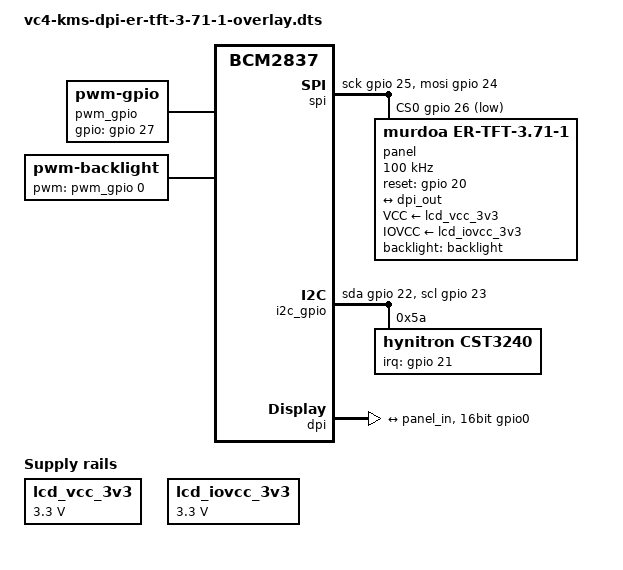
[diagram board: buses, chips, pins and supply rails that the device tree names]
/*
 * vc4-kms-dpi-er_tft_4_58_1.dts
 */

/dts-v1/;
/plugin/;

#include <dt-bindings/gpio/gpio.h>
#include <dt-bindings/pinctrl/bcm2835.h>

/ {
	compatible = "brcm,bcm2837";

	fragment@0 {
		target-path = "/";
		__overlay__ {
			pwm_gpio: pwm_gpio@27 {
				#pwm-cells = <3>;
				compatible = "pwm-gpio";
				pinctrl-names = "default";
				pinctrl-0 = <&pwm_gpio_pins>;
				gpios = <&gpio 27 0>;
				status = "okay";
			};
		};
	};

	fragment@1 {
		target-path = "/";
		__overlay__ {

			lcd_vcc_3v3: regulator-vcc-3v3 {
				compatible = "regulator-fixed";
				regulator-name = "vcc_3v3";
				regulator-min-microvolt = <3300000>;
				regulator-max-microvolt = <3300000>;
				regulator-always-on;
				regulator-boot-on;
			};

			lcd_iovcc_3v3: regulator-iovcc-3v3 {
				compatible = "regulator-fixed";
				regulator-name = "iovcc_3v3";
				regulator-min-microvolt = <3300000>;
				regulator-max-microvolt = <3300000>;
				regulator-always-on;
				regulator-boot-on;
			};

			backlight: backlight {
				compatible = "pwm-backlight";
				pwms = <&pwm_gpio 0 5000000 0>;

				brightness-levels = <0 4 8 16 32 64 128 255>;
				default-brightness-level = <3>;

				// post-pwm-on-delay-ms = <10>;
				// pwm-off-delay-ms = <10>;
			};

			spi {
				compatible = "spi-gpio";
				#address-cells = <1>;
				#size-cells = <0>;
				pinctrl-0 = <&spi_pins>;
				pinctrl-names = "default";

				sck-gpios = <&gpio 25 GPIO_ACTIVE_HIGH>;
				mosi-gpios = <&gpio 24 GPIO_ACTIVE_HIGH>;
				cs-gpios = <&gpio 26 GPIO_ACTIVE_LOW>;
				num-chipselects = <1>;
				sck-idle-input;

				panel: display@0 {
					reg = <0>;
					/* 100 kHz */
					pinctrl-0 = <&lcd_pins>;
					pinctrl-names = "default";
					spi-max-frequency = <100000>;
					backlight = <&backlight>;
					rotation = <90>;
					reset-gpios = <&gpio 20 GPIO_ACTIVE_HIGH>;

					VCC-supply = <&lcd_vcc_3v3>;
					IOVCC-supply = <&lcd_iovcc_3v3>;

					compatible = "murdoa,er-tft-3.71-1";
					
					// RGB 565 16-bit
					bus-format = <0x1017>;

					port {
						panel_in: endpoint {
							remote-endpoint = <&dpi_out>;
						};
					};
				};
			};
		};
	};

	fragment@2 {
		target = <&dpi>;
		__overlay__  {
			status = "okay";

			pinctrl-names = "default";
			pinctrl-0 = <&dpi_16bit_gpio0>;

			port {
				dpi_out: endpoint {
					remote-endpoint = <&panel_in>;
				};
			};
		};
	};

	fragment@3 {
		target = <&gpio>;
		__overlay__ {
			spi_pins: er_tft_4_58_1_spi_pins {
				brcm,pins = <25 26 24>;
				brcm,pull = <BCM2835_PUD_UP BCM2835_PUD_UP BCM2835_PUD_OFF>;
				brcm,function = <1 1 1>;
			};
			lcd_pins: er_tft_4_58_1_lcd_pins {
				brcm,pins = <20>;
				brcm,pull = <BCM2835_PUD_UP>;
				brcm,function = <1>;
			};
		};
	};

	fragment@4 {
		target-path = "/";
		__overlay__ {
			i2c_gpio: i2c@0 {
				compatible = "i2c-gpio";
				gpios = <&gpio 22 0 /* sda */
				&gpio 23 0>; /* scl */
				i2c-gpio,delay-us = <4>;        /* ~100 kHz */
				#address-cells = <1>;
				#size-cells = <0>;
			};
		};
	};

	fragment@5 {
		target = <&gpio>;
		__overlay__ {
			pwm_gpio_pins: pwm_gpio_pins@27 {
				brcm,pins = <27>; /* gpio 4 */
				brcm,function = <1>; /* output */
				brcm,pull = <0>; /* pull-none */
			};
		};
	};

	fragment@6 {
		target = <&gpio>;
		__overlay__ {
			dpi_16bit_gpio0: dpi_16bit_gpio0 {
				brcm,pins = <0 1 2 3 4 5 6 7 8 9 10 11
				12 13 14 15 16 17 18 19>;
				brcm,function = <BCM2835_FSEL_ALT2>;
			};
		};
	};


	fragment@7 {
		target = <&i2c_gpio>;
		__overlay__ {
			/* needed to avoid dtc warning */
			#address-cells = <1>;
			#size-cells = <0>;
			cst3240: touchscreen@5a {
				compatible = "hynitron,cst3240";
				reg = <0x5a>;
				interrupt-parent = <&gpio>;
				interrupts = <21 2>;
				touchscreen-size-x = <240>;
				touchscreen-size-y = <960>;
				touchscreen-inverted-y;
				touchscreen-swapped-x-y;
			};
		};
	};

	// Disable unused I2C0 to free gpios
	fragment@8 {
		target = <&i2c0>;
		__overlay__ {
			status = "disabled";
		};
	};

	// Disable unused I2C1 to free gpios
	fragment@9 {
		target = <&i2c1>;
		__overlay__ {
			status = "disabled";
		};
	};

	fragment@10 {
		target-path = "/aliases";
		__overlay__ {
			i2c_gpio = "/i2c@0";
		};
	};

	// Disable UART0 to free gpios
	fragment@11 {
		target = <&uart1>;
		__overlay__ {
			status = "disabled";
		};
	};
	
	// Disable composite video output
	// fragment@12 {
	// 	target = <&vec>;
	// 	__overlay__ {
	// 		status = "disabled";
	// 	};
	// };

	// // Increase CMA size to 256MB for framebuffer
	// fragment@13 {
	// 	target = <&cma>;
	// 	__overlay__ {
	// 		size = <0x10000000>;
	// 	};
	// };

    // // No audio
	// fragment@14 {
	// 	target = <&hdmi>;
	// 	__dormant__  {
	// 		dmas;
	// 	};
	// };

	// Disable HDMI
	// fragment@14 {
	// 	target = <&i2c2>;
	// 	__overlay__ {
	// 		status = "disabled";
	// 	};
	// };
	// fragment@15 {
	// 	target = <&hdmi>;
	// 	__overlay__  {
	// 		status = "disabled";
	// 	};
	// };

	__overrides__ {
	};
};
